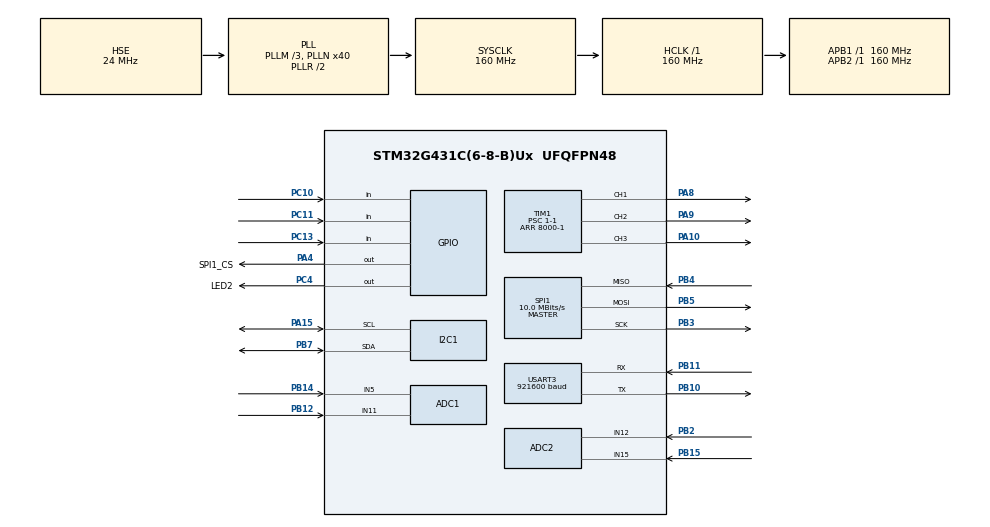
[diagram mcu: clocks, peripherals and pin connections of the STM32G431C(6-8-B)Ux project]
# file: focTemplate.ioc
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ADC1.Channel-0\#ChannelRegularConversion=ADC_CHANNEL_11
ADC1.ClockPrescaler=ADC_CLOCK_ASYNC_DIV4
ADC1.EnableInjectedConversion=ENABLE
ADC1.ExternalTrigInjecConv=ADC_EXTERNALTRIGINJEC_T1_CC4
ADC1.InjNumberOfConversion=2
ADC1.InjectedChannel-1\#ChannelInjectedConversion=ADC_CHANNEL_11
ADC1.InjectedChannel-2\#ChannelInjectedConversion=ADC_CHANNEL_5
ADC1.InjectedOffsetNumber-1\#ChannelInjectedConversion=ADC_OFFSET_NONE
ADC1.InjectedOffsetNumber-2\#ChannelInjectedConversion=ADC_OFFSET_NONE
ADC1.InjectedRank-1\#ChannelInjectedConversion=1
ADC1.InjectedRank-2\#ChannelInjectedConversion=2
ADC1.InjectedSamplingTime-1\#ChannelInjectedConversion=ADC_SAMPLETIME_6CYCLES_5
ADC1.InjectedSamplingTime-2\#ChannelInjectedConversion=ADC_SAMPLETIME_6CYCLES_5
ADC1.NbrOfConversionFlag=1
ADC1.OffsetNumber-0\#ChannelRegularConversion=ADC_OFFSET_NONE
ADC1.Rank-0\#ChannelRegularConversion=1
ADC1.Rank2_Channel=ADC_CHANNEL_5
ADC1.SamplingTime-0\#ChannelRegularConversion=ADC_SAMPLETIME_2CYCLES_5
ADC1.master=1
ADC2.Channel-3\#ChannelRegularConversion=ADC_CHANNEL_12
ADC2.ClockPrescaler=ADC_CLOCK_ASYNC_DIV4
ADC2.EnableInjectedConversion=ENABLE
ADC2.ExternalTrigInjecConv=ADC_EXTERNALTRIGINJEC_T8_CC4
ADC2.InjNumberOfConversion=2
ADC2.InjectedChannel-4\#ChannelInjectedConversion=ADC_CHANNEL_12
ADC2.InjectedChannel-5\#ChannelInjectedConversion=ADC_CHANNEL_12
ADC2.InjectedOffsetNumber-4\#ChannelInjectedConversion=ADC_OFFSET_NONE
ADC2.InjectedOffsetNumber-5\#ChannelInjectedConversion=ADC_OFFSET_NONE
ADC2.InjectedRank-4\#ChannelInjectedConversion=1
ADC2.InjectedRank-5\#ChannelInjectedConversion=2
ADC2.InjectedSamplingTime-4\#ChannelInjectedConversion=ADC_SAMPLETIME_6CYCLES_5
ADC2.InjectedSamplingTime-5\#ChannelInjectedConversion=ADC_SAMPLETIME_6CYCLES_5
ADC2.NbrOfConversionFlag=1
ADC2.OffsetNumber-3\#ChannelRegularConversion=ADC_OFFSET_NONE
ADC2.Rank-3\#ChannelRegularConversion=1
ADC2.Rank1_Channel=ADC_CHANNEL_12
ADC2.Rank2_Channel=ADC_CHANNEL_12
ADC2.SamplingTime-3\#ChannelRegularConversion=ADC_SAMPLETIME_2CYCLES_5
Dma.Request0=USART3_TX
Dma.Request1=USART3_RX
Dma.USART3_RX.1.Direction=DMA_PERIPH_TO_MEMORY
Dma.USART3_RX.1.EventEnable=DISABLE
Dma.USART3_RX.1.Instance=DMA1_Channel2
Dma.USART3_RX.1.MemDataAlignment=DMA_MDATAALIGN_BYTE
Dma.USART3_RX.1.MemInc=DMA_MINC_ENABLE
Dma.USART3_RX.1.Mode=DMA_NORMAL
Dma.USART3_RX.1.PeriphDataAlignment=DMA_PDATAALIGN_BYTE
Dma.USART3_RX.1.PeriphInc=DMA_PINC_DISABLE
Dma.USART3_RX.1.Polarity=HAL_DMAMUX_REQ_GEN_RISING
Dma.USART3_RX.1.Priority=DMA_PRIORITY_LOW
Dma.USART3_RX.1.RequestNumber=1
Dma.USART3_RX.1.SignalID=NONE
Dma.USART3_RX.1.SyncEnable=DISABLE
Dma.USART3_RX.1.SyncPolarity=HAL_DMAMUX_SYNC_NO_EVENT
Dma.USART3_RX.1.SyncRequestNumber=1
Dma.USART3_RX.1.SyncSignalID=NONE
Dma.USART3_TX.0.Direction=DMA_MEMORY_TO_PERIPH
Dma.USART3_TX.0.EventEnable=DISABLE
Dma.USART3_TX.0.Instance=DMA1_Channel1
Dma.USART3_TX.0.MemDataAlignment=DMA_MDATAALIGN_BYTE
Dma.USART3_TX.0.MemInc=DMA_MINC_ENABLE
Dma.USART3_TX.0.Mode=DMA_NORMAL
Dma.USART3_TX.0.PeriphDataAlignment=DMA_PDATAALIGN_BYTE
Dma.USART3_TX.0.PeriphInc=DMA_PINC_DISABLE
Dma.USART3_TX.0.Polarity=HAL_DMAMUX_REQ_GEN_RISING
Dma.USART3_TX.0.Priority=DMA_PRIORITY_LOW
Dma.USART3_TX.0.RequestNumber=1
Dma.USART3_TX.0.SignalID=NONE
Dma.USART3_TX.0.SyncEnable=DISABLE
Dma.USART3_TX.0.SyncPolarity=HAL_DMAMUX_SYNC_NO_EVENT
Dma.USART3_TX.0.SyncRequestNumber=1
Dma.USART3_TX.0.SyncSignalID=NONE
I2C1.Timing=0x30909DEC
Mcu.Family=STM32G4
Mcu.Name=STM32G431C(6-8-B)Ux
Mcu.Package=UFQFPN48
NVIC.ADC1_2_IRQn=true\:0\:0\:true\:false\:true\:true\:true\:true
NVIC.DMA1_Channel1_IRQn=true\:1\:0\:true\:false\:true\:false\:true\:true
NVIC.DMA1_Channel2_IRQn=true\:1\:0\:true\:false\:true\:false\:true\:true
NVIC.PriorityGroup=NVIC_PRIORITYGROUP_4
NVIC.USART3_IRQn=true\:1\:0\:true\:false\:true\:true\:true\:true
PA0.Signal=ADC2_IN1
PA10.Signal=S_TIM1_CH3
PA13.Mode=Serial_Wire
PA13.Signal=SYS_JTMS-SWDIO
PA14.Mode=Serial_Wire
PA14.Signal=SYS_JTCK-SWCLK
PA15.Mode=I2C
PA15.Signal=I2C1_SCL
PA4.GPIO_Label=SPI1_CS
PA4.GPIO_Speed=GPIO_SPEED_FREQ_VERY_HIGH
PA4.PinState=GPIO_PIN_SET
PA4.Signal=GPIO_Output
PA8.Signal=S_TIM1_CH1
PA9.Signal=S_TIM1_CH2
PB10.Mode=Asynchronous
PB10.Signal=USART3_TX
PB11.Mode=Asynchronous
PB11.Signal=USART3_RX
PB12.Mode=IN11-Single-Ended
PB12.Signal=ADC1_IN11
PB14.Mode=IN5-Single-Ended
PB14.Signal=ADC1_IN5
PB15.Mode=IN15-Single-Ended
PB15.Signal=ADC2_IN15
PB2.Mode=IN12-Single-Ended
PB2.Signal=ADC2_IN12
PB3.Mode=Full_Duplex_Master
PB3.Signal=SPI1_SCK
PB4.Mode=Full_Duplex_Master
PB4.Signal=SPI1_MISO
PB5.Mode=Full_Duplex_Master
PB5.Signal=SPI1_MOSI
PB7.Mode=I2C
PB7.Signal=I2C1_SDA
PC10.Signal=GPIO_Input
PC11.Signal=GPIO_Input
PC13.Signal=GPIO_Input
PC4.GPIO_Label=LED2
PC4.Signal=GPIO_Output
PF0-OSC_IN.Mode=HSE-External-Oscillator
PF0-OSC_IN.Signal=RCC_OSC_IN
PF1-OSC_OUT.Mode=HSE-External-Oscillator
PF1-OSC_OUT.Signal=RCC_OSC_OUT
ProjectManager.HeapSize=0x200
ProjectManager.StackSize=0x400
ProjectManager.TargetToolchain=MDK-ARM V5.32
RCC.ADC12Freq_Value=160000000
RCC.AHBFreq_Value=160000000
RCC.APB1Freq_Value=160000000
RCC.APB1TimFreq_Value=160000000
RCC.APB2Freq_Value=160000000
RCC.APB2TimFreq_Value=160000000
RCC.CortexFreq_Value=160000000
RCC.EXTERNAL_CLOCK_VALUE=12288000
RCC.HCLKFreq_Value=160000000
RCC.HSE_VALUE=24000000
RCC.HSI48_VALUE=48000000
RCC.HSI_VALUE=16000000
RCC.LSE_VALUE=32768
RCC.PLLM=RCC_PLLM_DIV3
RCC.PLLN=40
RCC.PLLSourceVirtual=RCC_PLLSOURCE_HSE
RCC.SYSCLKFreq_VALUE=160000000
RCC.SYSCLKSource=RCC_SYSCLKSOURCE_PLLCLK
RCC.USBFreq_Value=160000000
RCC.VCOOutputFreq_Value=320000000
SH.S_TIM1_CH1.0=TIM1_CH1,PWM Generation1 CH1
SH.S_TIM1_CH2.0=TIM1_CH2,PWM Generation2 CH2
SH.S_TIM1_CH3.0=TIM1_CH3,PWM Generation3 CH3
SPI1.BaudRatePrescaler=SPI_BAUDRATEPRESCALER_16
SPI1.CLKPhase=SPI_PHASE_2EDGE
SPI1.CalculateBaudRate=10.0 MBits/s
SPI1.DataSize=SPI_DATASIZE_16BIT
SPI1.Direction=SPI_DIRECTION_2LINES
SPI1.Mode=SPI_MODE_MASTER
SPI1.VirtualType=VM_MASTER
STMicroelectronics.X-CUBE-ALGOBUILD.1.3.0.LibraryCcDSPOoLibraryJjDSPOoLibrary=true
TIM1.BreakFilter=2
TIM1.BreakState=TIM_BREAK_ENABLE
TIM1.Channel-PWM\ Generation1\ CH1=TIM_CHANNEL_1
TIM1.Channel-PWM\ Generation2\ CH2=TIM_CHANNEL_2
TIM1.Channel-PWM\ Generation3\ CH3=TIM_CHANNEL_3
TIM1.Channel-PWM\ Generation4\ No\ Output=TIM_CHANNEL_4
TIM1.ClockDivision=TIM_CLOCKDIVISION_DIV2
TIM1.CounterMode=TIM_COUNTERMODE_CENTERALIGNED1
TIM1.OCMode_PWM-PWM\ Generation4\ No\ Output=TIM_OCMODE_PWM2
TIM1.PeriodNoDither=8000-1
TIM1.Prescaler=1-1
TIM1.PulseNoDither_4=8000-2
TIM1.RepetitionCounter=1
TIM1.SourceBRKCOMP1=TIM_BREAKINPUTSOURCE_ENABLE
TIM1.TIM_MasterOutputTrigger=TIM_TRGO_OC4REF
USART3.BaudRate=921600
USART3.VirtualMode-Asynchronous=VM_ASYNC
VP_DAC3_VS_DACI1.Mode=DAC_OUT1_Int
VP_STMicroelectronics.X-CUBE-ALGOBUILD_VS_DSPOoLibraryJjLibrary_1.3.0_1.3.0.Mode=DSPOoLibraryJjLibrary
VP_SYS_VS_DBSignals.Mode=DisableDeadBatterySignals
VP_TIM1_VS_ClockSourceINT.Mode=Internal
VP_TIM1_VS_no_output4.Mode=PWM Generation4 No Output
board=custom

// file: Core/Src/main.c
/* USER CODE BEGIN Header */
/**
 ******************************************************************************
 * @file           : main.c
 * @brief          : Main program body
 ******************************************************************************
 * @attention
 *
 * Copyright (c) 2024 STMicroelectronics.
 * All rights reserved.
 *
 * This software is licensed under terms that can be found in the LICENSE file
 * in the root directory of this software component.
 * If no LICENSE file comes with this software, it is provided AS-IS.
 *
 ******************************************************************************
 */
/* USER CODE END Header */
#include "main.h"
#include "adc.h"
#include "dac.h"
#include "dma.h"
#include "i2c.h"
#include "spi.h"
#include "tim.h"
#include "usart.h"
#include "gpio.h"

/* USER CODE BEGIN Includes */
#include <stdio.h>
#include <string.h>
#include "../../User/app.h"
#include "../../User/userMain.h"
#include "../../User/comm.h"
/* USER CODE END Includes */

void SystemClock_Config(void);

int main(void)
{

  /* MCU Configuration--------------------------------------------------------*/

  /* Reset of all peripherals, Initializes the Flash interface and the Systick. */
  HAL_Init();

  /* Configure the system clock */
  SystemClock_Config();

  /* Initialize all configured peripherals */
  MX_GPIO_Init();
  MX_DMA_Init();
  MX_USART3_UART_Init();
  MX_ADC1_Init();
  MX_ADC2_Init();
  MX_TIM1_Init();
  MX_DAC3_Init();
  MX_SPI1_Init();
  MX_I2C1_Init();
  /* USER CODE BEGIN 2 */
  appInit();

  // HAL_UART_Receive_IT(&huart3, (uint8_t *)&aRxBuffer, 1);
  HAL_UARTEx_ReceiveToIdle_DMA(&huart3, rxBuffer, sizeof(rxBuffer));
  HAL_ADCEx_Calibration_Start(&hadc1, ADC_SINGLE_ENDED);
  HAL_ADCEx_Calibration_Start(&hadc2, ADC_SINGLE_ENDED);
  __HAL_ADC_CLEAR_FLAG(&hadc1, ADC_FLAG_JEOC);
  __HAL_ADC_CLEAR_FLAG(&hadc1, ADC_FLAG_EOC);
  __HAL_ADC_CLEAR_FLAG(&hadc2, ADC_FLAG_JEOC);
  HAL_ADCEx_InjectedStart_IT(&hadc1);
  HAL_ADCEx_InjectedStart(&hadc2);

  HAL_TIM_Base_Start(&htim1);
  HAL_TIM_PWM_Start(&htim1, TIM_CHANNEL_4);
  /* USER CODE END 2 */

  /* Infinite loop */
  while (1)
  {

    /* USER CODE BEGIN 3 */
    userMain();
  }
  /* USER CODE END 3 */
}

void SystemClock_Config(void)
{
  RCC_OscInitTypeDef RCC_OscInitStruct = {0};
  RCC_ClkInitTypeDef RCC_ClkInitStruct = {0};

  /** Configure the main internal regulator output voltage
   */
  HAL_PWREx_ControlVoltageScaling(PWR_REGULATOR_VOLTAGE_SCALE1_BOOST);

  /** Initializes the RCC Oscillators according to the specified parameters
   * in the RCC_OscInitTypeDef structure.
   */
  RCC_OscInitStruct.OscillatorType = RCC_OSCILLATORTYPE_HSE;
  RCC_OscInitStruct.HSEState = RCC_HSE_ON;
  RCC_OscInitStruct.PLL.PLLState = RCC_PLL_ON;
  RCC_OscInitStruct.PLL.PLLSource = RCC_PLLSOURCE_HSE;
  RCC_OscInitStruct.PLL.PLLM = RCC_PLLM_DIV3;
  RCC_OscInitStruct.PLL.PLLN = 40;
  RCC_OscInitStruct.PLL.PLLP = RCC_PLLP_DIV2;
  RCC_OscInitStruct.PLL.PLLQ = RCC_PLLQ_DIV2;
  RCC_OscInitStruct.PLL.PLLR = RCC_PLLR_DIV2;
  if (HAL_RCC_OscConfig(&RCC_OscInitStruct) != HAL_OK)
  {
    Error_Handler();
  }

  /** Initializes the CPU, AHB and APB buses clocks
   */
  RCC_ClkInitStruct.ClockType = RCC_CLOCKTYPE_HCLK | RCC_CLOCKTYPE_SYSCLK | RCC_CLOCKTYPE_PCLK1 | RCC_CLOCKTYPE_PCLK2;
  RCC_ClkInitStruct.SYSCLKSource = RCC_SYSCLKSOURCE_PLLCLK;
  RCC_ClkInitStruct.AHBCLKDivider = RCC_SYSCLK_DIV1;
  RCC_ClkInitStruct.APB1CLKDivider = RCC_HCLK_DIV1;
  RCC_ClkInitStruct.APB2CLKDivider = RCC_HCLK_DIV1;

  if (HAL_RCC_ClockConfig(&RCC_ClkInitStruct, FLASH_LATENCY_4) != HAL_OK)
  {
    Error_Handler();
  }
}

void Error_Handler(void)
{
  __disable_irq();
  while (1)
  {
  }
}
